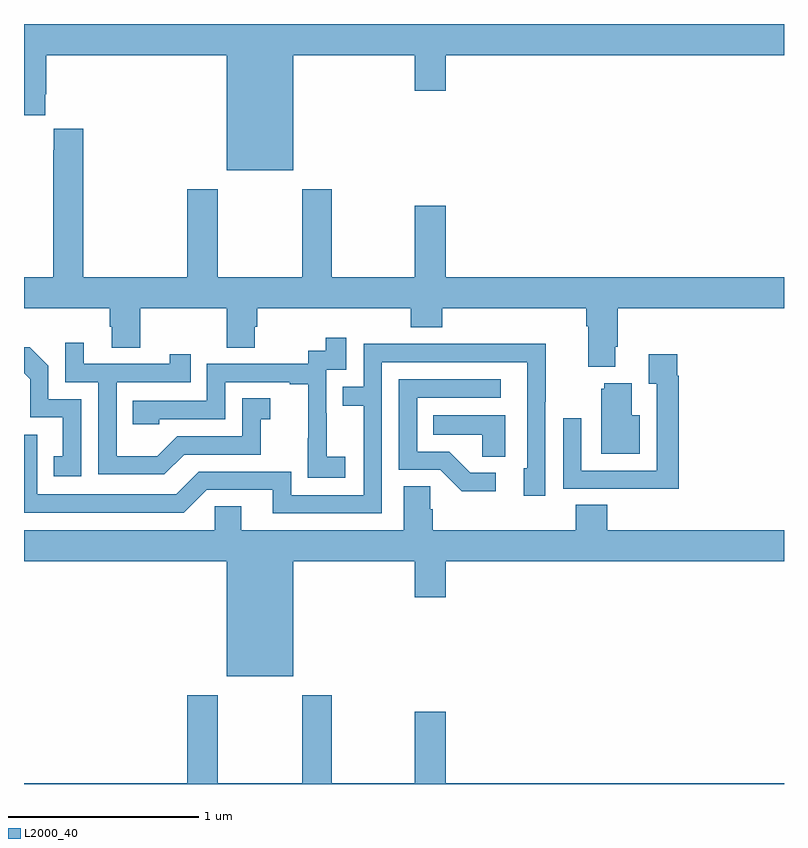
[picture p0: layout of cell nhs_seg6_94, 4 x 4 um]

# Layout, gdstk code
import gdstk
lib = gdstk.Library(unit=1e-6, precision=1e-09)
def P(c, l, *ps):  # polygons
    for p in ps: c.add(gdstk.Polygon(p, *l))
L2000_40 = (2000, 40)

nhs_seg6_94 = lib.new_cell('nhs_seg6_94')
P(nhs_seg6_94, L2000_40, [(116.416,947.336),(117.056,947.336),(117.056,947.148),(117.22,947.148),(117.22,947.336),(119,947.336),(119,947.5),(115,947.5),(115,947.019),(115.111,947.019),(115.111,947.131),(115.118,947.131),(115.118,947.336),(116.066,947.336),(116.066,946.73),(116.416,946.73)],
  [(118.111,945.802),(118.124,945.802),(118.124,946.004),(119,946.004),(119,946.168),(117.22,946.168),(117.22,946.543),(117.056,946.543),(117.056,946.168),(116.619,946.168),(116.619,946.63),(116.464,946.63),(116.464,946.168),(116.019,946.168),(116.019,946.63),(115.859,946.63),(115.859,946.168),(115.313,946.168),(115.313,946.948),(115.157,946.948),(115.157,946.835),(115.153,946.835),(115.153,946.168),(115,946.168),(115,946.004),(115.451,946.004),(115.451,945.906),(115.463,945.906),(115.463,945.796),(115.611,945.796),(115.611,946.004),(116.068,946.004),(116.068,945.796),(116.215,945.796),(116.215,945.906),(116.228,945.906),(116.228,946.004),(117.035,946.004),(117.035,945.905),(117.2,945.905),(117.2,946.004),(117.959,946.004),(117.959,945.908),(117.971,945.908),(117.971,945.695),(118.111,945.695)],
  [(116.692,945.223),(116.594,945.223),(116.594,945.452),(116.592,945.452),(116.592,945.681),(116.697,945.681),(116.697,945.85),(116.589,945.85),(116.589,945.78),(116.496,945.78),(116.496,945.711),(115.962,945.711),(115.962,945.516),(115.573,945.516),(115.573,945.393),(115.713,945.393),(115.713,945.42),(116.058,945.42),(116.058,945.615),(116.399,945.615),(116.399,945.603),(116.495,945.603),(116.495,945.319),(116.494,945.319),(116.494,945.113),(116.692,945.113)],
  [(115.843,945.234),(116.247,945.234),(116.247,945.419),(116.296,945.419),(116.296,945.529),(116.148,945.529),(116.148,945.33),(115.806,945.33),(115.702,945.226),(115.488,945.226),(115.488,945.615),(115.877,945.615),(115.877,945.763),(115.766,945.763),(115.766,945.711),(115.315,945.711),(115.315,945.823),(115.218,945.823),(115.218,945.615),(115.392,945.615),(115.392,945.129),(115.738,945.129)],
  [(116.883,945.72),(117.648,945.72),(117.648,945.162),(117.629,945.162),(117.629,945.018),(117.744,945.018),(117.744,945.511),(117.747,945.511),(117.747,945.818),(117.283,945.818),(117.283,945.816),(116.787,945.816),(116.787,945.591),(116.677,945.591),(116.677,945.49),(116.787,945.49),(116.787,945.021),(116.406,945.021),(116.406,945.144),(115.92,945.144),(115.8,945.024),(115.071,945.024),(115.071,945.339),(115,945.339),(115,944.928),(115.842,944.928),(115.962,945.048),(116.309,945.048),(116.309,944.925),(116.883,944.925)],
  [(115.302,945.525),(115.128,945.525),(115.128,945.702),(115.03,945.8),(115,945.8),(115,945.662),(115.032,945.63),(115.032,945.429),(115.205,945.429),(115.205,945.225),(115.156,945.225),(115.156,945.12),(115.302,945.12)],
  [(118.445,945.65),(118.438,945.65),(118.438,945.763),(118.289,945.763),(118.289,945.607),(118.329,945.607),(118.329,945.15),(117.933,945.15),(117.933,945.424),(117.837,945.424),(117.837,945.054),(118.153,945.054),(118.153,945.053),(118.445,945.053)],
  [(117.484,945.138),(117.349,945.138),(117.238,945.249),(117.069,945.249),(117.069,945.534),(117.508,945.534),(117.508,945.63),(116.973,945.63),(116.973,945.153),(117.192,945.153),(117.305,945.041),(117.484,945.041)],
  [(118.24,945.442),(118.198,945.442),(118.198,945.61),(118.055,945.61),(118.055,945.579),(118.037,945.579),(118.037,945.239),(118.24,945.239)],
  [(117.532,945.442),(117.154,945.442),(117.154,945.338),(117.411,945.338),(117.411,945.223),(117.532,945.223)],
  [(116.416,944.672),(117.056,944.672),(117.056,944.484),(117.22,944.484),(117.22,944.672),(119,944.672),(119,944.836),(118.07,944.836),(118.07,944.969),(117.905,944.969),(117.905,944.836),(117.152,944.836),(117.152,944.945),(117.138,944.945),(117.138,945.068),(116.999,945.068),(116.999,944.836),(116.143,944.836),(116.143,944.963),(116.004,944.963),(116.004,944.836),(115,944.836),(115,944.672),(116.066,944.672),(116.066,944.066),(116.416,944.066)],
  [(119,943.504),(117.22,943.504),(117.22,943.879),(117.056,943.879),(117.056,943.504),(116.619,943.504),(116.619,943.966),(116.464,943.966),(116.464,943.504),(116.019,943.504),(116.019,943.966),(115.859,943.966),(115.859,943.504),(115,943.504),(115,943.5),(119,943.5)])

lib.write_gds('nhs_seg6_94.gds')
